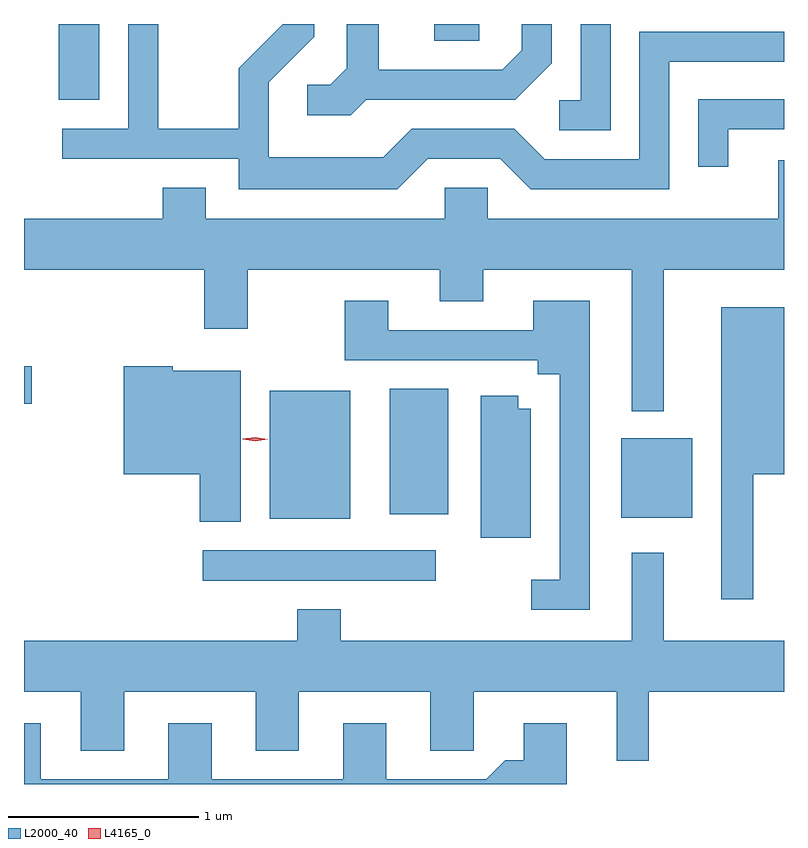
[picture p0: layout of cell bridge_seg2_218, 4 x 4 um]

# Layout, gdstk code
import gdstk
lib = gdstk.Library(unit=1e-6, precision=1e-09)
def R(c, l, rs):  # rectangles x0, y0, x1, y1
    for r in rs: c.add(gdstk.rectangle(r[:2], r[2:], *l))
def P(c, l, *ps):  # polygons
    for p in ps: c.add(gdstk.Polygon(p, *l))
L2000_40 = (2000, 40)
L4165_0 = (4165, 0)

bridge_seg2_218 = lib.new_cell('bridge_seg2_218')
R(bridge_seg2_218, L2000_40, [(610.843,1077.761,612.068,1077.919), (611.196,1078.086,611.619,1078.759), (613.046,1078.091,613.419,1078.509), (611.826,1078.111,612.134,1078.769), (609.902,1078.691,609.944,1078.889), (610.086,1080.291,610.299,1080.69), (612.061,1080.601,612.299,1080.69)])
P(bridge_seg2_218, L2000_40, [(612.989,1080.69),(612.831,1080.69),(612.831,1080.289),(612.718,1080.289),(612.718,1080.131),(612.989,1080.131)],
  [(612.027,1079.981),(612.409,1079.981),(612.569,1079.821),(613.299,1079.821),(613.299,1080.491),(613.902,1080.491),(613.902,1080.649),(613.141,1080.649),(613.141,1079.979),(612.642,1079.979),(612.482,1080.139),(611.944,1080.139),(611.794,1079.989),(611.189,1079.989),(611.189,1080.384),(611.429,1080.624),(611.429,1080.69),(611.264,1080.69),(611.031,1080.457),(611.031,1080.139),(610.609,1080.139),(610.609,1080.69),(610.451,1080.69),(610.451,1080.139),(610.103,1080.139),(610.103,1079.981),(611.031,1079.981),(611.031,1079.821),(611.867,1079.821)],
  [(611.702,1080.291),(612.487,1080.291),(612.679,1080.484),(612.679,1080.69),(612.521,1080.69),(612.521,1080.552),(612.419,1080.449),(611.769,1080.449),(611.769,1080.69),(611.601,1080.69),(611.601,1080.457),(611.514,1080.369),(611.393,1080.369),(611.393,1080.211),(611.622,1080.211)],
  [(613.609,1080.136),(613.902,1080.136),(613.902,1080.294),(613.451,1080.294),(613.451,1079.938),(613.609,1079.938)],
  [(613.269,1079.396),(613.902,1079.396),(613.902,1079.974),(613.871,1079.974),(613.871,1079.664),(612.344,1079.664),(612.344,1079.829),(612.116,1079.829),(612.116,1079.664),(610.859,1079.664),(610.859,1079.829),(610.631,1079.829),(610.631,1079.664),(609.902,1079.664),(609.902,1079.396),(610.851,1079.396),(610.851,1079.086),(611.079,1079.086),(611.079,1079.396),(612.091,1079.396),(612.091,1079.231),(612.319,1079.231),(612.319,1079.396),(613.101,1079.396),(613.101,1078.653),(613.269,1078.653)],
  [(612.879,1079.234),(612.581,1079.234),(612.581,1079.079),(611.819,1079.079),(611.819,1079.234),(611.591,1079.234),(611.591,1078.921),(612.606,1078.921),(612.606,1078.846),(612.721,1078.846),(612.721,1077.764),(612.573,1077.764),(612.573,1077.606),(612.879,1077.606)],
  [(613.739,1078.321),(613.902,1078.321),(613.902,1079.199),(613.571,1079.199),(613.571,1077.663),(613.739,1077.663)],
  [(611.044,1078.864),(610.684,1078.864),(610.684,1078.889),(610.426,1078.889),(610.426,1078.321),(610.826,1078.321),(610.826,1078.071),(611.044,1078.071)],
  [(612.569,1078.664),(612.504,1078.664),(612.504,1078.734),(612.306,1078.734),(612.306,1077.986),(612.569,1077.986)],
  [(611.341,1077.609),(611.341,1077.444),(609.902,1077.444),(609.902,1077.176),(610.201,1077.176),(610.201,1076.866),(610.429,1076.866),(610.429,1077.176),(611.121,1077.176),(611.121,1076.866),(611.349,1076.866),(611.349,1077.176),(612.041,1077.176),(612.041,1076.866),(612.269,1076.866),(612.269,1077.176),(613.021,1077.176),(613.021,1076.813),(613.189,1076.813),(613.189,1077.176),(613.902,1077.176),(613.902,1077.444),(613.269,1077.444),(613.269,1077.908),(613.101,1077.908),(613.101,1077.444),(611.569,1077.444),(611.569,1077.609)],
  [(612.759,1077.009),(612.531,1077.009),(612.531,1076.814),(612.434,1076.814),(612.334,1076.714),(611.809,1076.714),(611.809,1077.009),(611.581,1077.009),(611.581,1076.714),(610.889,1076.714),(610.889,1077.009),(610.661,1077.009),(610.661,1076.714),(609.989,1076.714),(609.989,1077.009),(609.902,1077.009),(609.902,1076.69),(612.759,1076.69)])
P(bridge_seg2_218, L4165_0, [(611.12,1078.495),(611.054,1078.505),(611.054,1078.505),(611.054,1078.506),(611.12,1078.514),(611.186,1078.504),(611.186,1078.504),(611.186,1078.504)])

lib.write_gds('bridge_seg2_218.gds')
